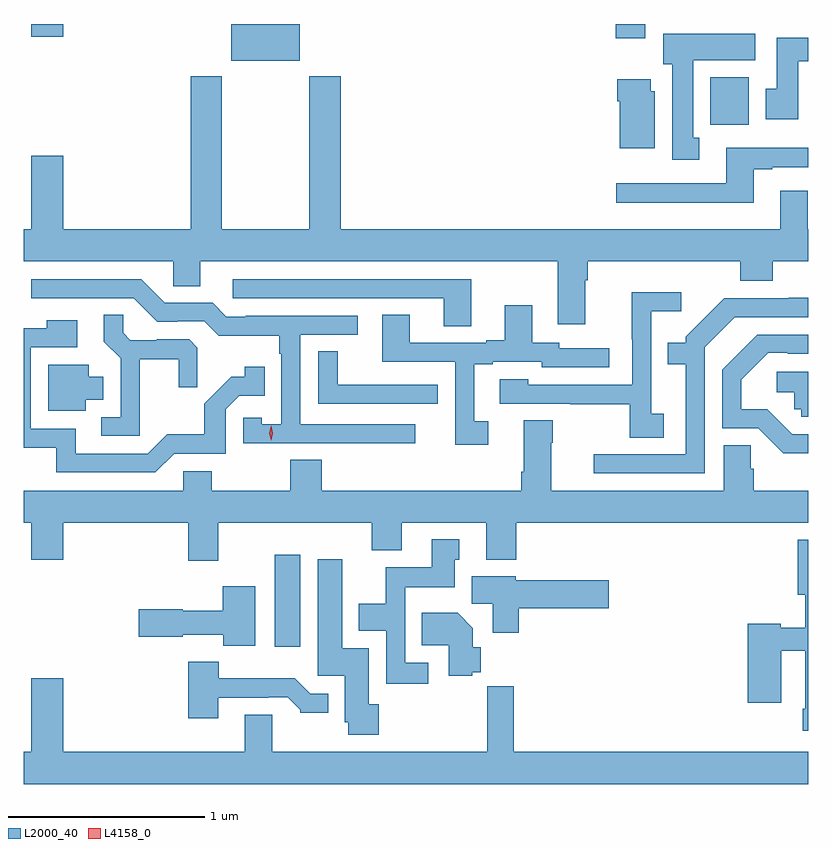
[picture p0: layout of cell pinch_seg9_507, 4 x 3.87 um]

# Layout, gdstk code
import gdstk
lib = gdstk.Library(unit=1e-6, precision=1e-09)
def R(c, l, rs):  # rectangles x0, y0, x1, y1
    for r in rs: c.add(gdstk.rectangle(r[:2], r[2:], *l))
def P(c, l, *ps):  # polygons
    for p in ps: c.add(gdstk.Polygon(p, *l))
L2000_40 = (2000, 40)
L4158_0 = (4158, 0)

pinch_seg9_507 = lib.new_cell('pinch_seg9_507')
R(pinch_seg9_507, L2000_40, [(382.034,1181.136,382.165,1181.605), (384.254,1183.796,384.451,1184.038), (381.812,1184.123,382.162,1184.31), (383.771,1184.238,383.923,1184.31), (380.792,1184.244,380.956,1184.31)])
P(pinch_seg9_507, L2000_40, [(384.199,1183.73),(384.166,1183.73),(384.166,1184.126),(384.484,1184.126),(384.484,1184.26),(384.014,1184.26),(384.014,1184.106),(384.059,1184.106),(384.059,1183.617),(384.199,1183.617)],
  [(384.703,1184.12),(384.754,1184.12),(384.754,1184.239),(384.593,1184.239),(384.593,1183.98),(384.536,1183.98),(384.536,1183.824),(384.703,1183.824)],
  [(383.617,1183.004),(383.63,1183.004),(383.63,1183.1),(384.407,1183.1),(384.407,1183.001),(384.572,1183.001),(384.572,1183.1),(384.754,1183.1),(384.754,1183.264),(384.751,1183.264),(384.751,1183.459),(384.611,1183.459),(384.611,1183.264),(382.37,1183.264),(382.37,1184.044),(382.21,1184.044),(382.21,1183.264),(381.765,1183.264),(381.765,1184.044),(381.605,1184.044),(381.605,1183.264),(380.956,1183.264),(380.956,1183.639),(380.792,1183.639),(380.792,1183.264),(380.754,1183.264),(380.754,1183.1),(381.516,1183.1),(381.516,1182.973),(381.655,1182.973),(381.655,1183.1),(383.477,1183.1),(383.477,1182.78),(383.617,1182.78)],
  [(383.971,1183.968),(383.95,1183.968),(383.95,1184.029),(383.78,1184.029),(383.78,1183.916),(383.792,1183.916),(383.792,1183.676),(383.971,1183.676)],
  [(384.475,1183.569),(384.571,1183.569),(384.571,1183.581),(384.754,1183.581),(384.754,1183.678),(384.335,1183.678),(384.335,1183.497),(383.775,1183.497),(383.775,1183.4),(384.475,1183.4)],
  [(382.75,1182.27),(382.164,1182.27),(382.164,1182.726),(382.456,1182.726),(382.456,1182.822),(381.886,1182.822),(381.886,1182.819),(381.786,1182.819),(381.717,1182.888),(381.474,1182.888),(381.354,1183.008),(380.792,1183.008),(380.792,1182.912),(381.315,1182.912),(381.435,1182.792),(381.536,1182.792),(381.536,1182.795),(381.675,1182.795),(381.748,1182.722),(382.056,1182.722),(382.056,1182.629),(382.068,1182.629),(382.068,1182.271),(381.969,1182.271),(381.969,1182.303),(381.873,1182.303),(381.873,1182.174),(382.357,1182.174),(382.357,1182.172),(382.75,1182.172)],
  [(383.035,1183.008),(381.819,1183.008),(381.819,1182.912),(382.895,1182.912),(382.895,1182.769),(383.035,1182.769)],
  [(384.016,1182.324),(383.952,1182.324),(383.952,1182.845),(384.106,1182.845),(384.106,1182.943),(383.854,1182.943),(383.854,1182.704),(383.856,1182.704),(383.856,1182.471),(383.325,1182.471),(383.325,1182.499),(383.181,1182.499),(383.181,1182.375),(383.539,1182.375),(383.539,1182.373),(383.844,1182.373),(383.844,1182.202),(384.016,1182.202)],
  [(384.225,1182.663),(384.378,1182.816),(384.754,1182.816),(384.754,1182.914),(384.655,1182.914),(384.655,1182.912),(384.324,1182.912),(384.129,1182.717),(384.129,1182.685),(384.037,1182.685),(384.037,1182.576),(384.128,1182.576),(384.128,1182.117),(383.661,1182.117),(383.661,1182.021),(384.225,1182.021)],
  [(383.122,1182.285),(383.05,1182.285),(383.05,1182.576),(383.146,1182.576),(383.146,1182.588),(383.394,1182.588),(383.394,1182.561),(383.74,1182.561),(383.74,1182.657),(383.484,1182.657),(383.484,1182.684),(383.347,1182.684),(383.347,1182.877),(383.207,1182.877),(383.207,1182.697),(383.111,1182.697),(383.111,1182.684),(382.723,1182.684),(382.723,1182.827),(382.583,1182.827),(382.583,1182.588),(382.953,1182.588),(382.953,1182.165),(383.122,1182.165)],
  [(381.347,1182.602),(381.544,1182.602),(381.544,1182.459),(381.638,1182.459),(381.638,1182.661),(381.597,1182.702),(381.432,1182.702),(381.432,1182.699),(381.298,1182.699),(381.261,1182.736),(381.261,1182.827),(381.163,1182.827),(381.163,1182.691),(381.249,1182.605),(381.249,1182.306),(381.15,1182.306),(381.15,1182.21),(381.347,1182.21)],
  [(381.522,1182.12),(381.783,1182.12),(381.783,1182.345),(381.852,1182.414),(381.983,1182.414),(381.983,1182.562),(381.882,1182.562),(381.882,1182.512),(381.812,1182.512),(381.675,1182.374),(381.675,1182.219),(381.486,1182.219),(381.387,1182.12),(381.019,1182.12),(381.019,1182.246),(380.79,1182.246),(380.79,1182.663),(381.028,1182.663),(381.028,1182.799),(380.872,1182.799),(380.872,1182.759),(380.754,1182.759),(380.754,1182.15),(380.921,1182.15),(380.921,1182.024),(381.426,1182.024)],
  [(384.754,1182.219),(384.672,1182.219),(384.545,1182.346),(384.412,1182.346),(384.412,1182.496),(384.549,1182.633),(384.649,1182.633),(384.649,1182.63),(384.754,1182.63),(384.754,1182.726),(384.494,1182.726),(384.315,1182.547),(384.315,1182.249),(384.498,1182.249),(384.626,1182.122),(384.754,1182.122)],
  [(382.864,1182.47),(382.751,1182.47),(382.751,1182.471),(382.356,1182.471),(382.356,1182.641),(382.257,1182.641),(382.257,1182.375),(382.864,1182.375)],
  [(381.07,1182.395),(381.16,1182.395),(381.16,1182.511),(381.085,1182.511),(381.085,1182.574),(380.879,1182.574),(380.879,1182.338),(381.07,1182.338)],
  [(384.754,1182.537),(384.594,1182.537),(384.594,1182.434),(384.681,1182.434),(384.681,1182.345),(384.717,1182.345),(384.717,1182.309),(384.754,1182.309)],
  [(381.745,1181.768),(382.529,1181.768),(382.529,1181.627),(382.681,1181.627),(382.681,1181.768),(383.111,1181.768),(383.111,1181.579),(383.264,1181.579),(383.264,1181.768),(384.754,1181.768),(384.754,1181.932),(384.476,1181.932),(384.476,1182.042),(384.461,1182.042),(384.461,1182.164),(384.323,1182.164),(384.323,1181.932),(383.443,1181.932),(383.443,1182.176),(383.451,1182.176),(383.451,1182.289),(383.303,1182.289),(383.303,1182.028),(383.291,1182.028),(383.291,1181.932),(382.274,1181.932),(382.274,1182.089),(382.114,1182.089),(382.114,1181.932),(381.714,1181.932),(381.714,1182.03),(381.567,1182.03),(381.567,1181.932),(380.754,1181.932),(380.754,1181.768),(380.792,1181.768),(380.792,1181.58),(380.956,1181.58),(380.956,1181.768),(381.593,1181.768),(381.593,1181.574),(381.745,1181.574)],
  [(382.816,1181.055),(382.698,1181.055),(382.698,1181.438),(382.951,1181.438),(382.951,1181.58),(382.975,1181.58),(382.975,1181.683),(382.835,1181.683),(382.835,1181.542),(382.6,1181.542),(382.6,1181.356),(382.463,1181.356),(382.463,1181.216),(382.602,1181.216),(382.602,1180.947),(382.816,1180.947)],
  [(384.754,1181.68),(384.701,1181.68),(384.701,1181.4),(384.737,1181.4),(384.737,1181.233),(384.612,1181.233),(384.612,1181.252),(384.446,1181.252),(384.446,1180.851),(384.616,1180.851),(384.616,1181.116),(384.737,1181.116),(384.737,1180.819),(384.725,1180.819),(384.725,1180.707),(384.754,1180.707)],
  [(382.565,1180.842),(382.513,1180.842),(382.513,1181.128),(382.378,1181.128),(382.378,1181.581),(382.253,1181.581),(382.253,1180.989),(382.391,1180.989),(382.391,1180.752),(382.408,1180.752),(382.408,1180.686),(382.565,1180.686)],
  [(383.279,1181.333),(383.737,1181.333),(383.737,1181.475),(383.262,1181.475),(383.262,1181.494),(383.039,1181.494),(383.039,1181.356),(383.144,1181.356),(383.144,1181.208),(383.279,1181.208)],
  [(381.934,1181.443),(381.77,1181.443),(381.77,1181.32),(381.564,1181.32),(381.564,1181.328),(381.342,1181.328),(381.342,1181.186),(381.564,1181.186),(381.564,1181.198),(381.772,1181.198),(381.772,1181.141),(381.934,1181.141)],
  [(383.04,1181.006),(383.083,1181.006),(383.083,1181.134),(383.044,1181.134),(383.044,1181.23),(382.966,1181.308),(382.783,1181.308),(382.783,1181.144),(382.922,1181.144),(382.922,1180.987),(383.04,1180.987)],
  [(381.745,1180.875),(382.001,1180.875),(382.001,1180.878),(382.1,1180.878),(382.164,1180.814),(382.164,1180.799),(382.306,1180.799),(382.306,1180.896),(382.215,1180.896),(382.137,1180.975),(381.748,1180.975),(381.748,1181.059),(381.593,1181.059),(381.593,1180.77),(381.745,1180.77)],
  [(384.754,1180.6),(383.252,1180.6),(383.252,1180.933),(383.117,1180.933),(383.117,1180.82),(383.116,1180.82),(383.116,1180.6),(382.021,1180.6),(382.021,1180.79),(381.881,1180.79),(381.881,1180.6),(380.956,1180.6),(380.956,1180.975),(380.792,1180.975),(380.792,1180.6),(380.754,1180.6),(380.754,1180.436),(384.754,1180.436)])
P(pinch_seg9_507, L4158_0, [(382.015,1182.189),(382.015,1182.189),(382.005,1182.225),(382.015,1182.261),(382.015,1182.262),(382.015,1182.261),(382.025,1182.225),(382.015,1182.189)])

lib.write_gds('pinch_seg9_507.gds')
